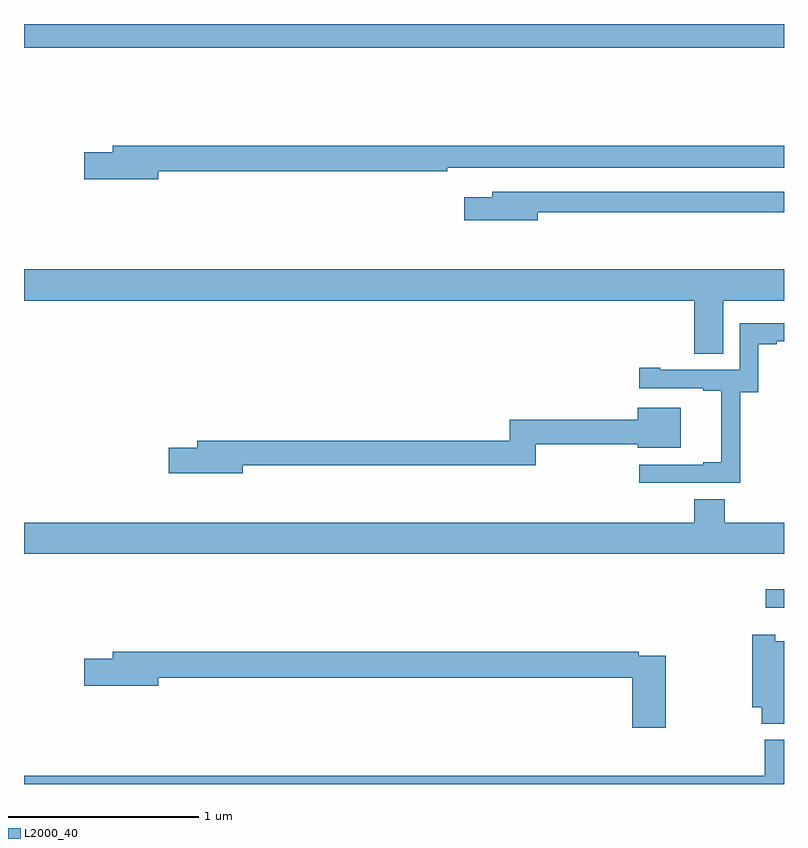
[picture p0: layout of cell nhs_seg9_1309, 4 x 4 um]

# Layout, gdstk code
import gdstk
lib = gdstk.Library(unit=1e-6, precision=1e-09)
def R(c, l, rs):  # rectangles x0, y0, x1, y1
    for r in rs: c.add(gdstk.rectangle(r[:2], r[2:], *l))
def P(c, l, *ps):  # polygons
    for p in ps: c.add(gdstk.Polygon(p, *l))
L2000_40 = (2000, 40)

nhs_seg9_1309 = lib.new_cell('nhs_seg9_1309')
R(nhs_seg9_1309, L2000_40, [(186.903,1237.428,187,1237.524), (183,1240.376,187,1240.5)])
P(nhs_seg9_1309, L2000_40, [(183.706,1239.724),(185.228,1239.724),(185.228,1239.744),(187,1239.744),(187,1239.86),(183.467,1239.86),(183.467,1239.824),(183.318,1239.824),(183.318,1239.682),(183.706,1239.682)],
  [(185.704,1239.51),(187,1239.51),(187,1239.618),(185.465,1239.618),(185.465,1239.589),(185.316,1239.589),(185.316,1239.467),(185.704,1239.467)],
  [(186.679,1239.044),(187,1239.044),(187,1239.208),(183,1239.208),(183,1239.044),(186.527,1239.044),(186.527,1238.764),(186.679,1238.764)],
  [(186.771,1238.563),(186.865,1238.563),(186.865,1238.814),(186.961,1238.814),(186.961,1238.829),(187,1238.829),(187,1238.925),(186.768,1238.925),(186.768,1238.679),(186.349,1238.679),(186.349,1238.692),(186.237,1238.692),(186.237,1238.583),(186.575,1238.583),(186.575,1238.571),(186.671,1238.571),(186.671,1238.194),(186.575,1238.194),(186.575,1238.181),(186.237,1238.181),(186.237,1238.085),(186.771,1238.085)],
  [(184.15,1238.178),(185.693,1238.178),(185.693,1238.289),(186.23,1238.289),(186.23,1238.27),(186.457,1238.27),(186.457,1238.479),(186.23,1238.479),(186.23,1238.417),(185.557,1238.417),(185.557,1238.306),(183.911,1238.306),(183.911,1238.27),(183.762,1238.27),(183.762,1238.135),(184.15,1238.135)],
  [(187,1237.876),(186.687,1237.876),(186.687,1238),(186.527,1238),(186.527,1237.876),(183,1237.876),(183,1237.712),(187,1237.712)],
  [(187,1237.252),(186.955,1237.252),(186.955,1237.285),(186.833,1237.285),(186.833,1236.905),(186.884,1236.905),(186.884,1236.817),(187,1236.817)],
  [(186.378,1237.176),(186.236,1237.176),(186.236,1237.196),(183.467,1237.196),(183.467,1237.16),(183.318,1237.16),(183.318,1237.018),(183.706,1237.018),(183.706,1237.06),(186.2,1237.06),(186.2,1236.795),(186.378,1236.795)],
  [(187,1236.732),(186.899,1236.732),(186.899,1236.544),(183,1236.544),(183,1236.5),(187,1236.5)])

lib.write_gds('nhs_seg9_1309.gds')
